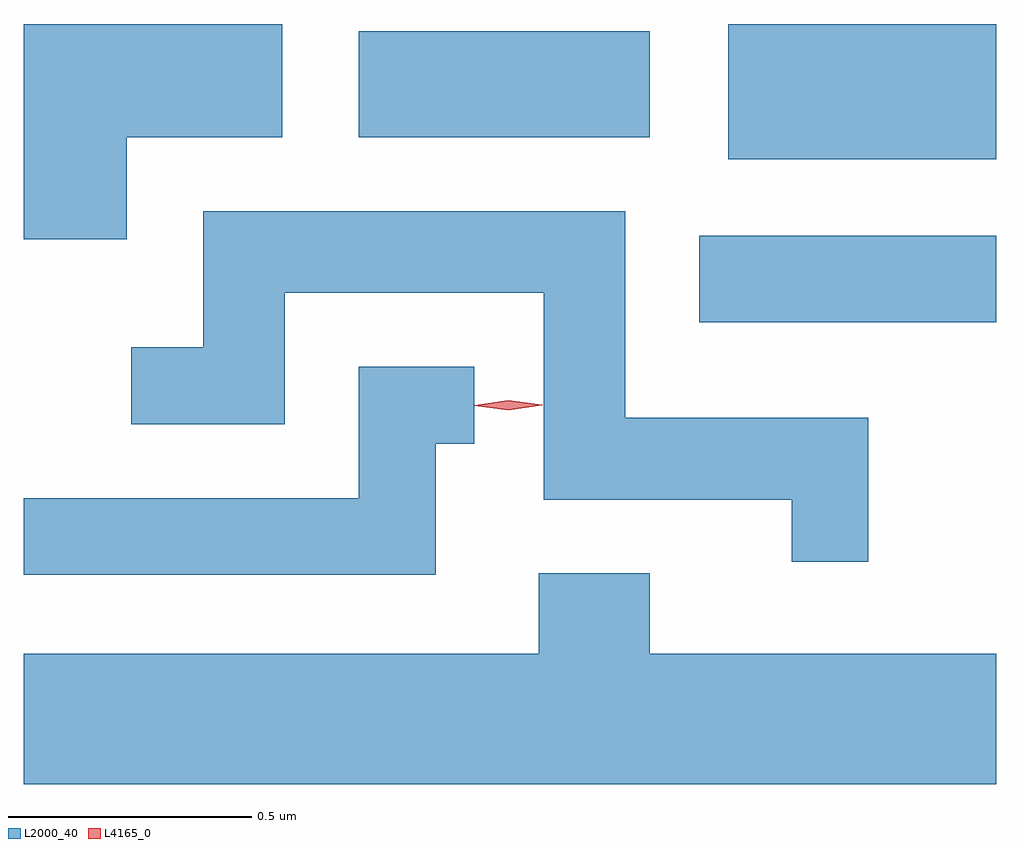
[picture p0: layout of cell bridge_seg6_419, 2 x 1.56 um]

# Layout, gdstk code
import gdstk
lib = gdstk.Library(unit=1e-6, precision=1e-09)
def R(c, l, rs):  # rectangles x0, y0, x1, y1
    for r in rs: c.add(gdstk.rectangle(r[:2], r[2:], *l))
def P(c, l, *ps):  # polygons
    for p in ps: c.add(gdstk.Polygon(p, *l))
L2000_40 = (2000, 40)
L4165_0 = (4165, 0)

bridge_seg6_419 = lib.new_cell('bridge_seg6_419')
R(bridge_seg6_419, L2000_40, [(887.931,1613.146,888.542,1613.324), (887.991,1613.481,888.542,1613.759), (887.231,1613.526,887.829,1613.744)])
P(bridge_seg6_419, L2000_40, [(886.754,1613.526),(887.074,1613.526),(887.074,1613.759),(886.542,1613.759),(886.542,1613.316),(886.754,1613.316)],
  [(888.279,1612.949),(887.779,1612.949),(887.779,1613.374),(886.911,1613.374),(886.911,1613.094),(886.763,1613.094),(886.763,1612.936),(887.079,1612.936),(887.079,1613.206),(887.611,1613.206),(887.611,1612.781),(888.121,1612.781),(888.121,1612.653),(888.279,1612.653)],
  [(887.389,1612.896),(887.468,1612.896),(887.468,1613.054),(887.231,1613.054),(887.231,1612.784),(886.542,1612.784),(886.542,1612.626),(887.389,1612.626)],
  [(888.542,1612.464),(887.829,1612.464),(887.829,1612.629),(887.601,1612.629),(887.601,1612.464),(886.542,1612.464),(886.542,1612.196),(888.542,1612.196)])
P(bridge_seg6_419, L4165_0, [(887.538,1612.965),(887.469,1612.974),(887.469,1612.975),(887.469,1612.975),(887.538,1612.985),(887.608,1612.976),(887.608,1612.976),(887.608,1612.975)])

lib.write_gds('bridge_seg6_419.gds')
